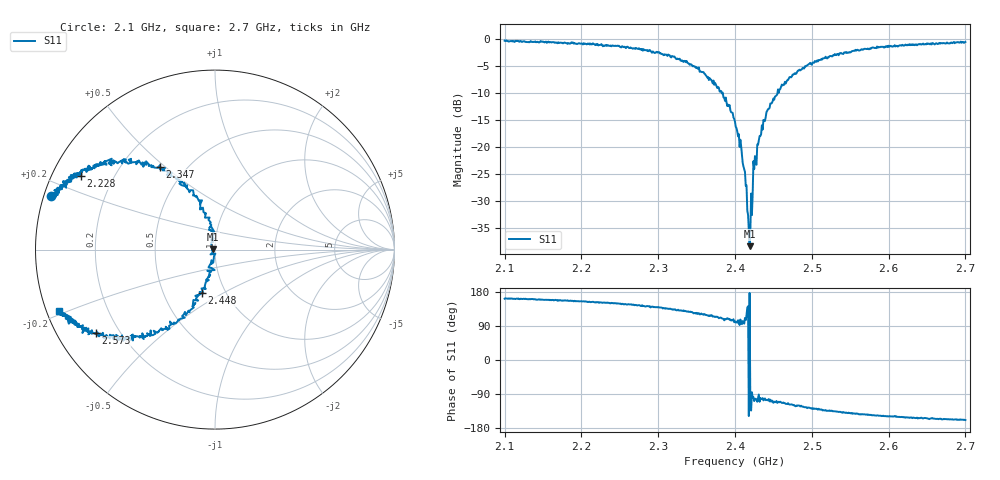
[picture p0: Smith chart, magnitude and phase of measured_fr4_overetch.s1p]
! Created with skrf 2.2.0 (http://scikit-rf.org).
# Hz S RI R 50.0
!freq ReS11 ImS11
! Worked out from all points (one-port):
!   601 points, 2.1 GHz to 2.7 GHz, reference 50 ohm
!   lowest |S11| = -38.4 dB at 2.419 GHz (marker M1), VSWR 1.02, Z = 48.8 + j0.0636 ohm
!   |S11| at or under -10 dB: 2.382731 GHz to 2.383786 GHz (1.056 MHz wide, 0.0443 % of centre); 2.384 GHz to 2.455 GHz (71.28 MHz wide, 2.95 % of centre)
!   S11 on the Smith chart (normalised r, x): 2.1 GHz: 0.02, +0.16; 2.228 GHz: 0.08, +0.25; 2.347 GHz: 0.36, +0.48; 2.448 GHz: 0.77, -0.40; 2.573 GHz: 0.11, -0.31; 2.7 GHz: 0.03, -0.19
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2.1e9  -0.9129 0.3008
2.175e9  -0.8414 0.3701
2.228e9  -0.7484 0.4083
2.25e9  -0.7205 0.442
2.3e9  -0.5754 0.4836
2.325e9  -0.4348 0.4921
2.347e9  -0.3073 0.4612
2.381e9  -0.1224 0.3015
2.394e9  -0.0637 0.2078
2.4e9  -0.0364 0.1661
2.405e9  -0.0221 0.129
2.41e9  -0.0156 0.0693
2.414e9  -0.0114 0.0419
2.417e9  -0.0184 0.0145
2.419e9  -0.012 0.000651
2.421e9  -0.0253 -0.0268
2.424e9  -0.00977 -0.0729
2.427e9  -0.0147 -0.0685
2.432e9  -0.0432 -0.1177
2.44e9  -0.0515 -0.1811
2.448e9  -0.0742 -0.2426
2.459e9  -0.1182 -0.3221
2.475e9  -0.2188 -0.4114
2.507e9  -0.4013 -0.4863
2.55e9  -0.5725 -0.4813
2.573e9  -0.6656 -0.4668
2.625e9  -0.7761 -0.4186
2.7e9  -0.8703 -0.3433
